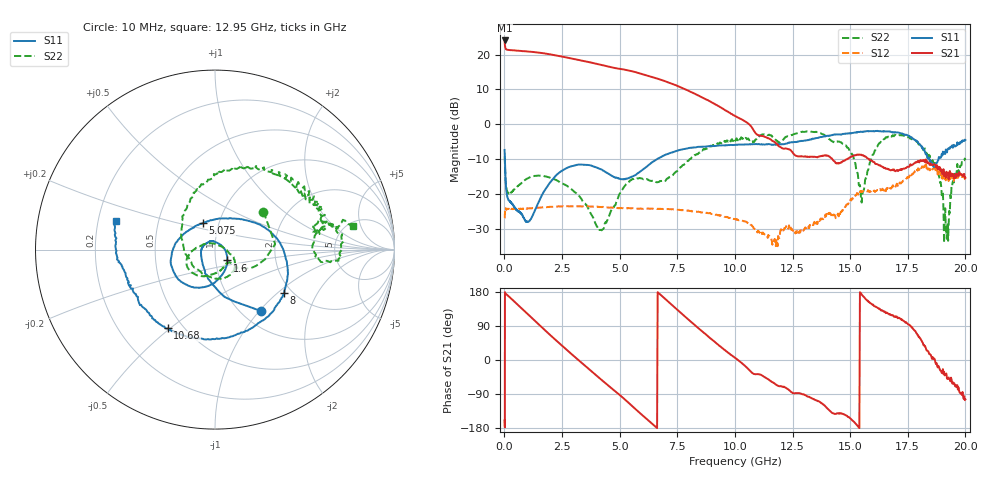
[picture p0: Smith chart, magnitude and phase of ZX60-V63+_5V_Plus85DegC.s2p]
!Mini-Circuits Laboratory
!S-Parameters
!Model: ZX60-V63+
!Run / Lot / Date Code: E114204 /  / NA
!Fixture:
!Network Analyzer: PNA-X N5242A - 423 4 ports;  Serial number: 71932
!Date: 10/26/2011 at 11:42:03 AM
!S/N: Unit# 1 (Unit5)
!Tested with:
# Hz  S  dB  R  50
!Frequency  S11 dB  S11 Deg  S21 dB  S21 Deg  S12 dB  S12 Deg  S22 dB  S22 Deg
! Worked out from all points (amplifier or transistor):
!   959 points, 10 MHz to 20 GHz, reference 50 ohm
!   highest |S21| = 24.0 dB at 10 MHz (marker M1)
!   |S21| within 3 dB of that: start of sweep to 705.9 MHz
!   unconditionally stable (mu >= 1): 53.62 MHz to 57.17 MHz; 61.31 MHz to end of sweep
!   at 805 MHz: K = 1.06, MAG = 21.1 dB, |S12| = -24.3 dB
!   at 8.025 GHz: K = 2.25, MAG = 10.9 dB, |S12| = -24.9 dB
!   at 20 GHz: K = 10.93, MAG = -13.1 dB, |S12| = -15.9 dB
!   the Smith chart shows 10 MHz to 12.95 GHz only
!   S11 on the Smith chart (normalised r, x): 10 MHz: 1.22, -1.02; 1.6 GHz: 1.14, -0.14; 5.075 GHz: 0.84, +0.25; 8 GHz: 1.81, -1.11; 10.68 GHz: 0.41, -0.49; 12.95 GHz: 0.27, +0.13
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1e7  -7.39 -53.3  24.04 -159.4  -26.98 67.1  -9.29 38.1
3.5e7  -13.50 -89.3  22.12 176.9  -24.99 20.2  -13.74 -30.8
5e7  -15.56 -103.6  21.77 175.3  -24.47 7.1  -15.76 -39.8
6.45e8  -25.19 128.7  21.08 142.0  -24.36 -12.9  -17.43 -92.1
1e9  -28.09 62.2  20.89 121.9  -24.26 -20.8  -15.61 -116.9
1.6e9  -20.77 -41.3  20.45 87.8  -23.95 -35.8  -14.75 -146.9
2.5e9  -13.37 -104.9  19.40 37.8  -23.59 -61.5  -17.01 -171.4
3.35e9  -11.61 -146.5  18.26 -7.3  -23.61 -87.9  -21.56 165.8
4.2e9  -12.98 172.4  17.04 -51.7  -23.82 -116.7  -30.35 71.9
5.075e9  -15.78 115.0  15.81 -96.0  -24.08 -147.7  -19.09 -21.7
5.85e9  -13.82 57.9  14.63 -138.4  -24.30 -177.4  -15.47 -71.6
6.675e9  -9.81 18.6  12.98 177.6  -24.33 147.8  -16.63 -131.5
8e9  -6.85 -32.4  9.54 105.8  -24.80 87.2  -10.40 117.5
8.95e9  -6.27 -67.7  6.44 56.4  -25.65 43.4  -6.17 73.0
1.0025e10  -5.95 -102.6  2.27 5.1  -27.36 -2.9  -4.77 29.0
1.0675e10  -5.82 -121.0  -0.42 -29.5  -28.87 -35.4  -4.51 9.0
1.295e10  -4.80 163.7  -9.27 -90.9  -30.33 -69.0  -2.18 9.6
1.335e10  -4.22 150.4  -9.35 -101.3  -28.76 -70.8  -2.21 6.9
1.5525e10  -2.24 112.6  -8.90 170.8  -19.44 -142.5  -20.56 41.0
1.6675e10  -2.03 99.8  -12.90 121.4  -18.42 168.4  -3.73 88.8
1.9175e10  -7.60 -120.4  -13.64 -35.7  -14.26 -23.8  -31.03 -14.8
2e10  -4.57 -149.7  -15.38 -104.0  -15.87 -99.8  -10.20 145.2
